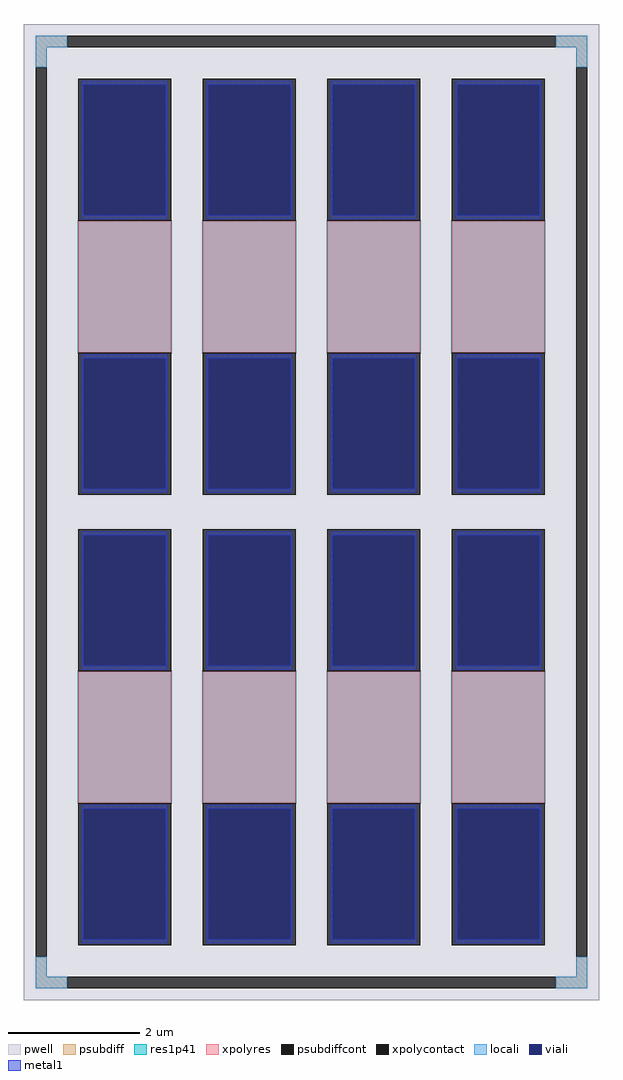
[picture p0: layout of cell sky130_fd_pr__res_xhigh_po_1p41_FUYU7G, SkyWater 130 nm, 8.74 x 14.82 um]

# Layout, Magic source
magic
tech sky130A
magscale 1 2
<< pwell >>
rect -874 -1482 874 1482
<< psubdiff >>
rect -838 1412 -742 1446
rect 742 1412 838 1446
rect -838 1350 -804 1412
rect 804 1350 838 1412
rect -838 -1412 -804 -1350
rect 804 -1412 838 -1350
rect -838 -1446 -742 -1412
rect 742 -1446 838 -1412
<< psubdiffcont >>
rect -742 1412 742 1446
rect -838 -1350 -804 1350
rect 804 -1350 838 1350
rect -742 -1446 742 -1412
<< xpolycontact >>
rect -708 884 -426 1316
rect -708 52 -426 484
rect -330 884 -48 1316
rect -330 52 -48 484
rect 48 884 330 1316
rect 48 52 330 484
rect 426 884 708 1316
rect 426 52 708 484
rect -708 -484 -426 -52
rect -708 -1316 -426 -884
rect -330 -484 -48 -52
rect -330 -1316 -48 -884
rect 48 -484 330 -52
rect 48 -1316 330 -884
rect 426 -484 708 -52
rect 426 -1316 708 -884
<< xpolyres >>
rect -708 484 -426 884
rect -330 484 -48 884
rect 48 484 330 884
rect 426 484 708 884
rect -708 -884 -426 -484
rect -330 -884 -48 -484
rect 48 -884 330 -484
rect 426 -884 708 -484
<< locali >>
rect -838 1412 -742 1446
rect 742 1412 838 1446
rect -838 1350 -804 1412
rect 804 1350 838 1412
rect -838 -1412 -804 -1350
rect 804 -1412 838 -1350
rect -838 -1446 -742 -1412
rect 742 -1446 838 -1412
<< viali >>
rect -692 901 -442 1298
rect -314 901 -64 1298
rect 64 901 314 1298
rect 442 901 692 1298
rect -692 70 -442 467
rect -314 70 -64 467
rect 64 70 314 467
rect 442 70 692 467
rect -692 -467 -442 -70
rect -314 -467 -64 -70
rect 64 -467 314 -70
rect 442 -467 692 -70
rect -692 -1298 -442 -901
rect -314 -1298 -64 -901
rect 64 -1298 314 -901
rect 442 -1298 692 -901
<< metal1 >>
rect -698 1298 -436 1310
rect -698 901 -692 1298
rect -442 901 -436 1298
rect -698 889 -436 901
rect -320 1298 -58 1310
rect -320 901 -314 1298
rect -64 901 -58 1298
rect -320 889 -58 901
rect 58 1298 320 1310
rect 58 901 64 1298
rect 314 901 320 1298
rect 58 889 320 901
rect 436 1298 698 1310
rect 436 901 442 1298
rect 692 901 698 1298
rect 436 889 698 901
rect -698 467 -436 479
rect -698 70 -692 467
rect -442 70 -436 467
rect -698 58 -436 70
rect -320 467 -58 479
rect -320 70 -314 467
rect -64 70 -58 467
rect -320 58 -58 70
rect 58 467 320 479
rect 58 70 64 467
rect 314 70 320 467
rect 58 58 320 70
rect 436 467 698 479
rect 436 70 442 467
rect 692 70 698 467
rect 436 58 698 70
rect -698 -70 -436 -58
rect -698 -467 -692 -70
rect -442 -467 -436 -70
rect -698 -479 -436 -467
rect -320 -70 -58 -58
rect -320 -467 -314 -70
rect -64 -467 -58 -70
rect -320 -479 -58 -467
rect 58 -70 320 -58
rect 58 -467 64 -70
rect 314 -467 320 -70
rect 58 -479 320 -467
rect 436 -70 698 -58
rect 436 -467 442 -70
rect 692 -467 698 -70
rect 436 -479 698 -467
rect -698 -901 -436 -889
rect -698 -1298 -692 -901
rect -442 -1298 -436 -901
rect -698 -1310 -436 -1298
rect -320 -901 -58 -889
rect -320 -1298 -314 -901
rect -64 -1298 -58 -901
rect -320 -1310 -58 -1298
rect 58 -901 320 -889
rect 58 -1298 64 -901
rect 314 -1298 320 -901
rect 58 -1310 320 -1298
rect 436 -901 698 -889
rect 436 -1298 442 -901
rect 692 -1298 698 -901
rect 436 -1310 698 -1298
<< res1p41 >>
rect -710 482 -424 886
rect -332 482 -46 886
rect 46 482 332 886
rect 424 482 710 886
rect -710 -886 -424 -482
rect -332 -886 -46 -482
rect 46 -886 332 -482
rect 424 -886 710 -482
<< properties >>
string FIXED_BBOX -821 -1429 821 1429
string gencell sky130_fd_pr__res_xhigh_po_1p41
string library sky130
string parameters w 1.41 l 2 m 2 nx 4 wmin 1.410 lmin 0.50 rho 2000 val 3.103k dummy 0 dw 0.0 term 188.2 sterm 0.0 caplen 0 wmax 1.410 guard 1 glc 1 grc 1 gtc 1 gbc 1 compatible {sky130_fd_pr__res_xhigh_po_0p35  sky130_fd_pr__res_xhigh_po_0p69 sky130_fd_pr__res_xhigh_po_1p41  sky130_fd_pr__res_xhigh_po_2p85 sky130_fd_pr__res_xhigh_po_5p73} snake 0 full_metal 1 n_guard 0 hv_guard 0 vias 1 viagb 0 viagt 0 viagl 0 viagr 0
<< end >>
